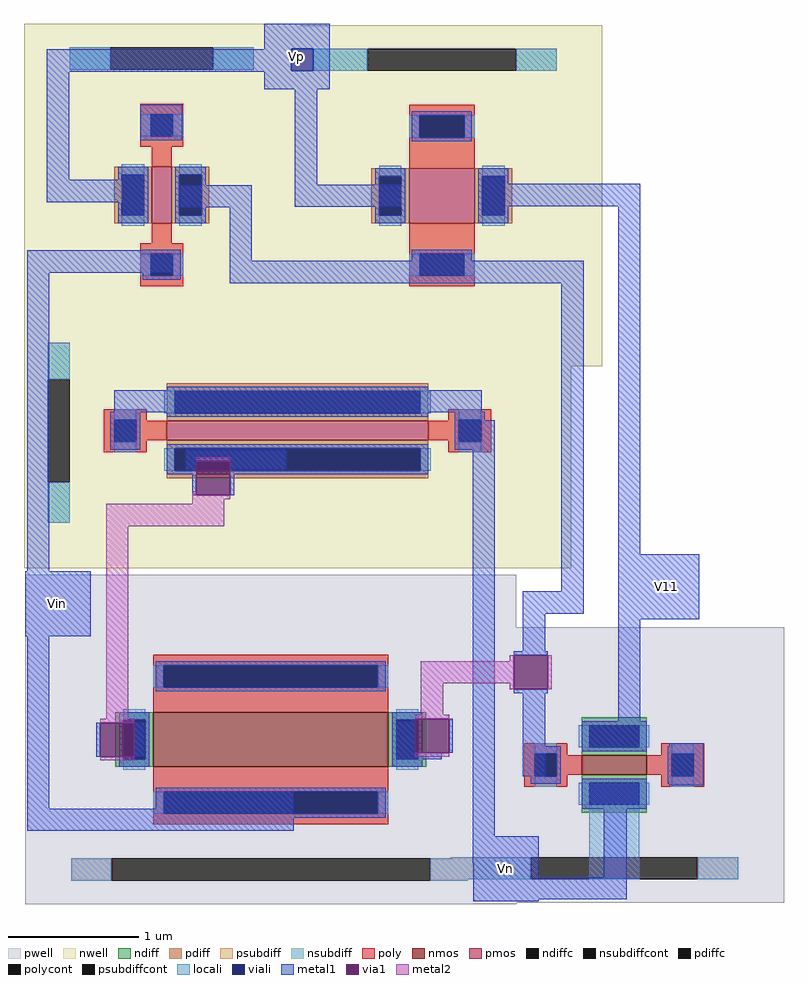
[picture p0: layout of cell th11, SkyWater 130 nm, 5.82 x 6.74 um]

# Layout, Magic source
magic
tech sky130A
magscale 1 2
<< pwell >>
rect 1376 -640 1410 -580
rect 1354 -756 1388 -696
<< psubdiff >>
rect 1119 -842 1221 -808
<< nsubdiff >>
rect 875 396 964 430
<< locali >>
rect 909 396 964 430
rect 1123 -842 1214 -808
rect 1332 -842 1408 -696
<< viali >>
rect 875 396 909 430
<< metal1 >>
rect 834 430 934 468
rect 834 429 875 430
rect 501 396 875 429
rect 909 396 934 430
rect 501 395 934 396
rect 501 229 535 395
rect 834 368 934 395
rect 644 290 708 344
rect 617 229 651 237
rect 501 195 651 229
rect 881 222 915 368
rect 1169 223 1203 233
rect 617 171 651 195
rect 705 187 815 221
rect 881 188 1046 222
rect 1169 189 1410 223
rect 471 87 703 121
rect 781 105 815 187
rect 1169 169 1203 189
rect 1072 105 1142 118
rect 471 -370 505 87
rect 781 71 1323 105
rect 604 -127 1167 -93
rect 604 -181 638 -127
rect 1131 -139 1167 -127
rect 1131 -173 1187 -139
rect 1133 -175 1187 -173
rect 714 -202 868 -184
rect 714 -214 730 -202
rect 724 -254 730 -214
rect 782 -214 868 -202
rect 782 -254 788 -214
rect 468 -470 568 -370
rect 471 -734 505 -470
rect 1059 -600 1065 -596
rect 577 -654 583 -602
rect 635 -654 650 -602
rect 1036 -648 1065 -600
rect 1117 -648 1123 -596
rect 1036 -658 1106 -648
rect 679 -734 879 -707
rect 471 -768 879 -734
rect 1153 -776 1187 -175
rect 1289 -401 1323 71
rect 1230 -435 1323 -401
rect 1376 -344 1410 189
rect 1230 -493 1264 -435
rect 1376 -444 1500 -344
rect 1216 -499 1268 -493
rect 1216 -557 1268 -551
rect 1230 -684 1264 -557
rect 1376 -605 1410 -444
rect 1331 -639 1410 -605
rect 1376 -640 1410 -639
rect 1331 -729 1409 -695
rect 1454 -698 1506 -634
rect 1153 -817 1254 -776
rect 1154 -839 1254 -817
rect 1354 -839 1389 -729
rect 1154 -873 1389 -839
rect 1154 -876 1254 -873
<< via1 >>
rect 730 -254 782 -202
rect 583 -654 635 -602
rect 1065 -648 1117 -596
rect 1216 -551 1268 -499
<< metal2 >>
rect 730 -202 782 -196
rect 724 -254 730 -248
rect 724 -260 782 -254
rect 724 -267 773 -260
rect 592 -301 773 -267
rect 592 -596 626 -301
rect 1210 -508 1216 -499
rect 1074 -542 1216 -508
rect 1074 -590 1108 -542
rect 1210 -551 1216 -542
rect 1268 -551 1274 -499
rect 1065 -596 1117 -590
rect 583 -602 635 -596
rect 1065 -654 1117 -648
rect 583 -660 635 -654
use sky130_fd_pr__pfet_01v8_XGAKDL  XM0
transform 0 -1 885 1 0 -155
box -211 -419 211 419
use sky130_fd_pr__nfet_01v8_4X3CDA  XM1
transform 1 0 844 0 1 -628
box -376 -252 376 252
use sky130_fd_pr__pfet_01v8_MWB9BZ  XM2
transform 1 0 677 0 1 206
box -211 -262 211 262
use sky130_fd_pr__pfet_01v8_JM8GTH  XM3
transform 1 0 1106 0 1 205
box -246 -261 246 261
use sky130_fd_pr__nfet_01v8_L9ESAD  XM4
transform 0 -1 1370 1 0 -667
box -211 -260 211 260
<< labels >>
flabel metal1 468 -470 568 -370 0 FreeSans 256 0 0 0 Vin
port 2 nsew
flabel metal1 1154 -876 1254 -776 0 FreeSans 256 0 0 0 Vn
port 3 nsew
flabel metal1 834 368 934 468 0 FreeSans 256 0 0 0 Vp
port 0 nsew
flabel metal1 1400 -444 1500 -344 0 FreeSans 256 0 0 0 V11
port 1 nsew
<< end >>

# cell sky130_fd_pr__pfet_01v8_XGAKDL: kit device sky130_fd_pr__pfet_01v8, w 2.0 l 0.15 m 1 nf 1 diffcov 100 polycov 100 guard 1 glc 1 grc 1 gtc 1 gbc 1 tbcov 100 rlcov 100 topc 1 botc 1 poverlap 0 doverlap 1 lmin 0.15 wmin 0.42 compatible {sky130_fd_pr__pfet_01v8 sky130_fd_pr__pfet_01v8_lvt sky130_fd_pr__pfet_01v8_hvt sky130_fd_pr__pfet_g5v0d10v5} full_metal 1 viasrc 100 viadrn 100 viagate 100 viagb 0 viagr 0 viagl 0 viagt 0

# cell sky130_fd_pr__nfet_01v8_4X3CDA: kit device sky130_fd_pr__nfet_01v8, w 0.42 l 1.8 m 1 nf 1 diffcov 100 polycov 100 guard 1 glc 1 grc 1 gtc 1 gbc 1 tbcov 100 rlcov 100 topc 1 botc 1 poverlap 0 doverlap 1 lmin 0.15 wmin 0.42 compatible {sky130_fd_pr__nfet_01v8 sky130_fd_pr__nfet_01v8_lvt sky130_fd_bs_flash__special_sonosfet_star sky130_fd_pr__nfet_g5v0d10v5 sky130_fd_pr__nfet_05v0_nvt sky130_fd_pr__nfet_03v3_nvt} full_metal 1 viasrc 100 viadrn 100 viagate 100 viagb 0 viagr 0 viagl 0 viagt 0

# cell sky130_fd_pr__pfet_01v8_MWB9BZ: kit device sky130_fd_pr__pfet_01v8, w 0.43 l 0.15 m 1 nf 1 diffcov 100 polycov 100 guard 1 glc 1 grc 1 gtc 1 gbc 1 tbcov 100 rlcov 100 topc 1 botc 1 poverlap 0 doverlap 1 lmin 0.15 wmin 0.42 compatible {sky130_fd_pr__pfet_01v8 sky130_fd_pr__pfet_01v8_lvt sky130_fd_pr__pfet_01v8_hvt sky130_fd_pr__pfet_g5v0d10v5} full_metal 1 viasrc 100 viadrn 100 viagate 100 viagb 0 viagr 0 viagl 0 viagt 0

# cell sky130_fd_pr__pfet_01v8_JM8GTH: kit device sky130_fd_pr__pfet_01v8, w 0.42 l 0.5 m 1 nf 1 diffcov 100 polycov 100 guard 1 glc 1 grc 1 gtc 1 gbc 1 tbcov 100 rlcov 100 topc 1 botc 1 poverlap 0 doverlap 1 lmin 0.15 wmin 0.42 compatible {sky130_fd_pr__pfet_01v8 sky130_fd_pr__pfet_01v8_lvt sky130_fd_pr__pfet_01v8_hvt sky130_fd_pr__pfet_g5v0d10v5} full_metal 1 viasrc 100 viadrn 100 viagate 100 viagb 0 viagr 0 viagl 0 viagt 0

# cell sky130_fd_pr__nfet_01v8_L9ESAD: kit device sky130_fd_pr__nfet_01v8, w 0.5 l 0.15 m 1 nf 1 diffcov 100 polycov 100 guard 1 glc 1 grc 1 gtc 1 gbc 1 tbcov 100 rlcov 100 topc 1 botc 1 poverlap 0 doverlap 1 lmin 0.15 wmin 0.42 compatible {sky130_fd_pr__nfet_01v8 sky130_fd_pr__nfet_01v8_lvt sky130_fd_bs_flash__special_sonosfet_star sky130_fd_pr__nfet_g5v0d10v5 sky130_fd_pr__nfet_05v0_nvt sky130_fd_pr__nfet_03v3_nvt} full_metal 1 viasrc 100 viadrn 100 viagate 100 viagb 0 viagr 0 viagl 0 viagt 0
